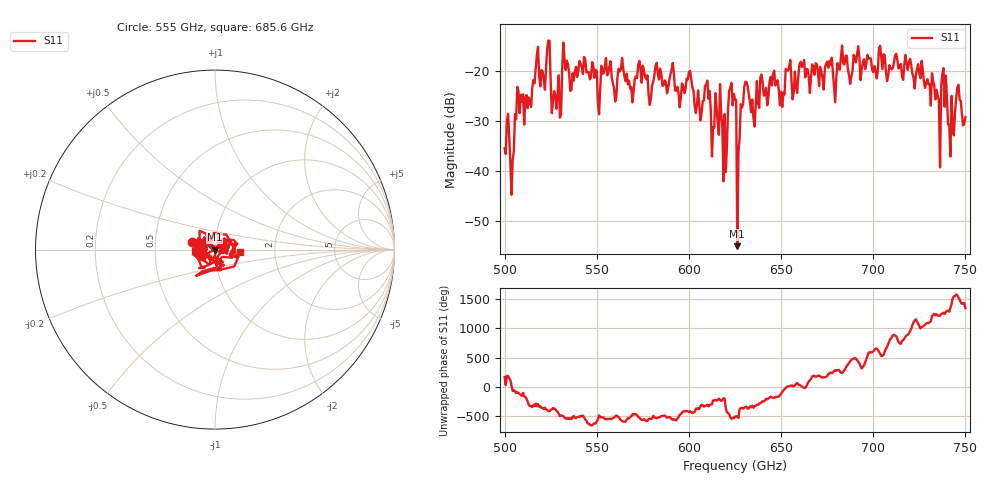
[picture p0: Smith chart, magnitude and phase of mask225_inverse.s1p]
!Created with skrf (http://scikit-rf.org).
# GHz S MA R 50.0
!freq magS11 angS11
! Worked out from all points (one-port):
!   401 points, 500 GHz to 750 GHz, reference 50 ohm
!   lowest |S11| = -55.0 dB at 626.2 GHz (marker M1), VSWR 1.00, Z = 49.9 - j0.108 ohm
!   |S11| at or under -10 dB: start of sweep to end of sweep
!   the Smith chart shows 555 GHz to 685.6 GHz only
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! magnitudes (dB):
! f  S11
! 500 GHz  -35.4
! 503.8 GHz  -44.7
! 506.9 GHz  -23.1
! 513.8 GHz  -26.2
! 516.9 GHz  -19.5
! 523.8 GHz  -13.9
! 526.9 GHz  -24.0
! 531.2 GHz  -19.6
! 533.1 GHz  -19.8
! 550.6 GHz  -26.5
! 562.5 GHz  -20.1
! 593.8 GHz  -23.2
! 610 GHz  -21.9
! 619.4 GHz  -28.6
! 623.1 GHz  -22.3
! 624.4 GHz  -24.6
! 625 GHz  -25.7
! 626.2 GHz  -55.0
! 631.2 GHz  -22.2
! 635 GHz  -29.3
! 656.2 GHz  -25.6
! 687.5 GHz  -22.6
! 718.8 GHz  -19.8
! 735 GHz  -25.0
! 738.1 GHz  -19.4
! 742.5 GHz  -25.0
! 746.2 GHz  -22.7
! 750 GHz  -29.2
